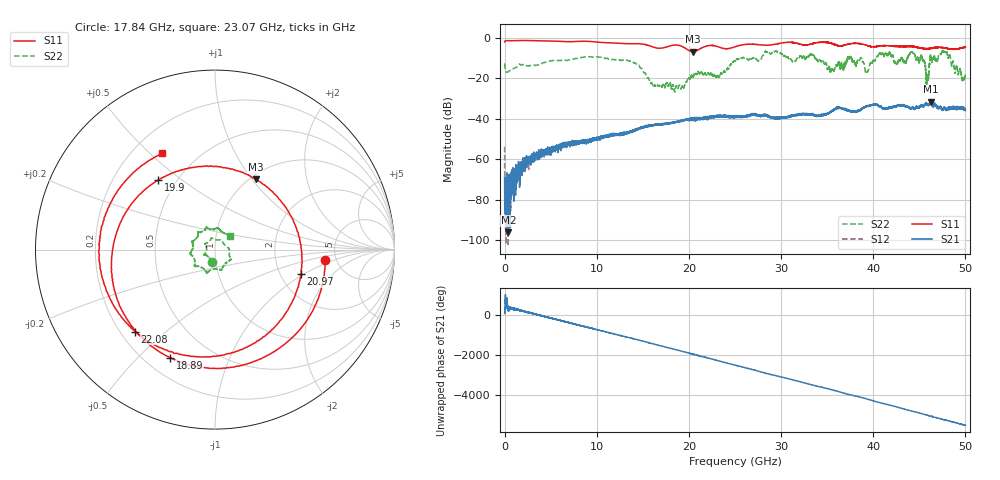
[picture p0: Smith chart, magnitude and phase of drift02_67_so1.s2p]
!Created with skrf (http://scikit-rf.org).
# Hz S RI R 50.0
!freq ReS11 ImS11 ReS21 ImS21 ReS12 ImS12 ReS22 ImS22
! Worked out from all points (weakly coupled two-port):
!   10001 points, 300 kHz to 50 GHz, reference 50 ohm
!   highest |S21| = -31.62 dB at 46.22 GHz (marker M1); lowest = -96.0 dB at 405.3 MHz (marker M2)
!   lowest |S11| = -6.9 dB at 20.4 GHz (marker M3), VSWR 2.65, Z = 52.9 + j52 ohm
!   |S11| at or under -10 dB: nowhere
!   |S22| runs from -26.7 to -6.3 dB; largest |S21 - S12| = 0.0034
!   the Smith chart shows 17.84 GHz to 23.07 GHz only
!   S11 on the Smith chart (normalised r, x): 17.84 GHz: 4.07, -0.73; 18.89 GHz: 0.30, -0.63; 19.9 GHz: 0.40, +0.41; 20.97 GHz: 2.59, -0.93; 22.08 GHz: 0.26, -0.40; 23.07 GHz: 0.32, +0.55
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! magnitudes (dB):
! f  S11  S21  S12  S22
! 300 kHz  -2.1  -69.0  -53.8  -12.7
! 405.3 MHz  -1.4  -96.0  -81.5  -16.7
! 2.555 GHz  -1.4  -60.0  -62.8  -13.9
! 8.335 GHz  -1.7  -51.7  -51.5  -9.7
! 13.7 GHz  -2.9  -46.0  -46.4  -11.7
! 16.67 GHz  -5.2  -42.8  -42.7  -23.8
! 17.84 GHz  -4.2  -42.2  -42.5  -23.1
! 18.89 GHz  -3.7  -41.3  -41.3  -24.1
! 19.9 GHz  -6.0  -40.3  -40.4  -19.9
! 20.4 GHz  -6.9  -40.1  -40.1  -19.0
! 20.97 GHz  -6.1  -39.9  -40.1  -16.8
! 22.08 GHz  -3.9  -39.5  -39.5  -17.5
! 23.07 GHz  -4.3  -39.0  -38.7  -19.0
! 25 GHz  -4.5  -38.9  -38.9  -11.6
! 33.34 GHz  -3.1  -38.0  -38.0  -8.4
! 39.32 GHz  -3.8  -33.7  -33.6  -17.0
! 41.67 GHz  -3.9  -34.5  -34.5  -7.8
! 44.28 GHz  -4.3  -34.4  -34.7  -7.5
! 45.86 GHz  -5.4  -32.9  -32.9  -18.9
! 46.22 GHz  -5.2  -31.6  -31.9  -9.6
! 47.76 GHz  -5.0  -34.9  -34.7  -7.1
! 50 GHz  -4.7  -36.0  -35.5  -18.6
